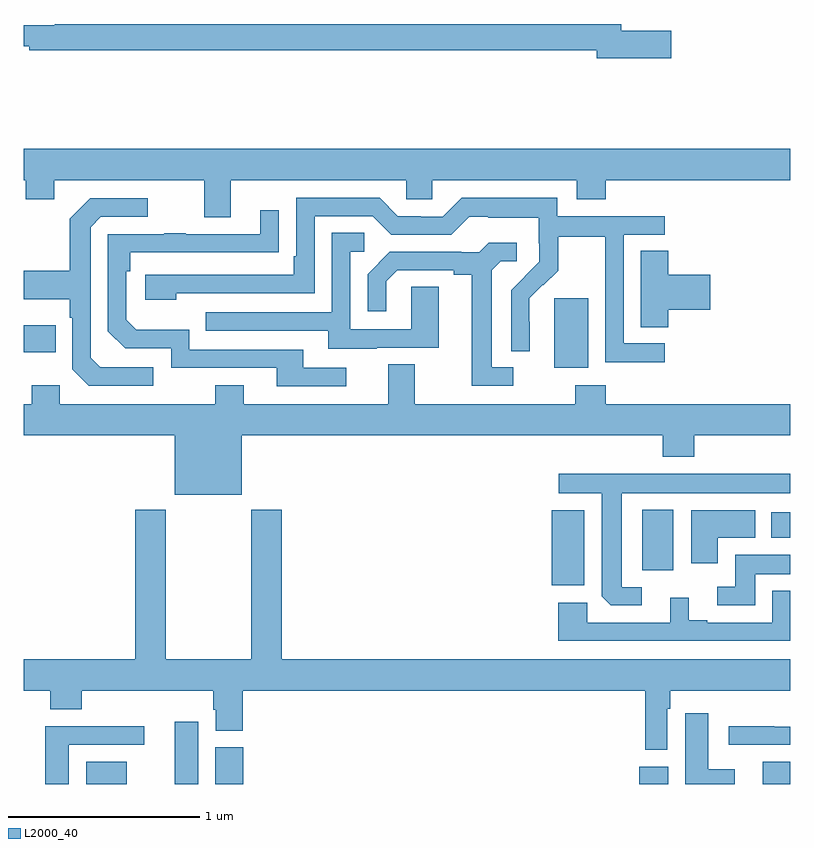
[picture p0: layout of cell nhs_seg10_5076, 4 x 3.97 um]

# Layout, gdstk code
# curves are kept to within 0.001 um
import gdstk
lib = gdstk.Library(unit=1e-6, precision=1e-09)
def R(c, l, rs):  # rectangles x0, y0, x1, y1
    for r in rs: c.add(gdstk.rectangle(r[:2], r[2:], *l))
def P(c, l, *ps):  # polygons
    for p in ps: c.add(gdstk.Polygon(p, *l))
L2000_40 = (2000, 40)

nhs_seg10_5076 = lib.new_cell('nhs_seg10_5076')
R(nhs_seg10_5076, L2000_40, [(405.326,1294.5,405.538,1294.615), (405.788,1294.5,405.91,1294.825), (405.998,1294.5,406.145,1294.692), (408.212,1294.5,408.364,1294.591), (408.857,1294.5,409,1294.615), (407.756,1295.537,407.926,1295.929), (408.227,1295.616,408.391,1295.932), (408.902,1295.786,409,1295.92), (407.768,1296.674,407.947,1297.035), (405,1296.755,405.167,1296.895)])
P(nhs_seg10_5076, L2000_40, [(408.379,1298.432),(408.118,1298.432),(408.118,1298.468),(405.16,1298.468),(405.16,1298.461),(405,1298.461),(405,1298.351),(405.028,1298.351),(405.028,1298.332),(407.99,1298.332),(407.99,1298.29),(408.379,1298.29)],
  [(406.081,1297.652),(406.995,1297.652),(406.995,1297.554),(407.133,1297.554),(407.133,1297.652),(407.885,1297.652),(407.885,1297.553),(408.038,1297.553),(408.038,1297.652),(409,1297.652),(409,1297.816),(405,1297.816),(405,1297.652),(405.01,1297.652),(405.01,1297.553),(405.157,1297.553),(405.157,1297.652),(405.941,1297.652),(405.941,1297.458),(406.081,1297.458)],
  [(408.346,1296.801),(408.132,1296.801),(408.132,1297.368),(408.346,1297.368),(408.346,1297.464),(407.784,1297.464),(407.784,1297.561),(407.287,1297.561),(407.187,1297.461),(407.072,1297.461),(407.072,1297.464),(406.953,1297.464),(406.857,1297.56),(406.422,1297.56),(406.422,1297.255),(406.409,1297.255),(406.409,1297.158),(405.633,1297.158),(405.633,1297.028),(405.794,1297.028),(405.794,1297.062),(406.518,1297.062),(406.518,1297.464),(406.821,1297.464),(406.917,1297.368),(407.232,1297.368),(407.325,1297.461),(407.425,1297.461),(407.425,1297.457),(407.688,1297.457),(407.688,1297.323),(407.69,1297.323),(407.69,1297.226),(407.544,1297.078),(407.544,1296.76),(407.64,1296.76),(407.639,1297.037),(407.709,1297.107),(407.712,1297.104),(407.789,1297.181),(407.789,1297.356),(408.034,1297.356),(408.034,1297.132),(408.036,1297.132),(408.036,1296.703),(408.346,1296.703)],
  [(405.676,1296.675),(405.399,1296.675),(405.348,1296.726),(405.348,1297.407),(405.402,1297.461),(405.646,1297.461),(405.646,1297.557),(405.345,1297.557),(405.24,1297.451),(405.24,1297.179),(405,1297.179),(405,1297.031),(405.24,1297.031),(405.24,1296.935),(405.252,1296.935),(405.252,1296.666),(405.339,1296.579),(405.676,1296.579)],
  [(406.684,1296.672),(406.459,1296.672),(406.459,1296.768),(405.864,1296.768),(405.864,1296.871),(405.587,1296.871),(405.534,1296.924),(405.534,1297.178),(405.554,1297.178),(405.554,1297.275),(406.331,1297.276),(406.331,1297.495),(406.235,1297.495),(406.235,1297.371),(405.845,1297.371),(405.845,1297.376),(405.733,1297.376),(405.733,1297.371),(405.438,1297.371),(405.438,1296.864),(405.528,1296.774),(405.768,1296.774),(405.768,1296.672),(406.319,1296.672),(406.319,1296.576),(406.684,1296.576)],
  [(406.843,1296.777),(407.167,1296.777),(407.167,1297.097),(407.022,1297.097),(407.022,1296.873),(406.704,1296.873),(406.704,1297.278),(406.777,1297.278),(406.777,1297.379),(406.608,1297.379),(406.608,1296.963),(405.949,1296.963),(405.949,1296.867),(406.589,1296.867),(406.589,1296.773),(406.843,1296.773)],
  [(407.554,1296.675),(407.443,1296.675),(407.443,1297.183),(407.49,1297.23),(407.572,1297.23),(407.572,1297.327),(407.428,1297.327),(407.376,1297.275),(407.282,1297.275),(407.282,1297.278),(406.91,1297.278),(406.794,1297.162),(406.794,1296.969),(406.891,1296.969),(406.891,1297.125),(406.948,1297.182),(407.243,1297.182),(407.243,1297.16),(407.339,1297.16),(407.339,1296.579),(407.554,1296.579)],
  [(408.365,1296.977),(408.583,1296.977),(408.583,1297.16),(408.365,1297.16),(408.365,1297.283),(408.221,1297.283),(408.221,1296.886),(408.365,1296.886)],
  [(406.138,1296.32),(408.335,1296.32),(408.335,1296.209),(408.5,1296.209),(408.5,1296.32),(409,1296.32),(409,1296.484),(408.038,1296.484),(408.038,1296.583),(407.878,1296.583),(407.878,1296.484),(407.041,1296.484),(407.041,1296.692),(406.901,1296.692),(406.901,1296.484),(406.147,1296.484),(406.147,1296.583),(406,1296.583),(406,1296.484),(405.186,1296.484),(405.186,1296.583),(405.04,1296.583),(405.04,1296.484),(405,1296.484),(405,1296.32),(405.788,1296.32),(405.788,1296.011),(406.138,1296.011)],
  [(408.226,1295.526),(408.121,1295.526),(408.121,1296.017),(409,1296.017),(409,1296.121),(407.793,1296.121),(407.793,1296.017),(408.017,1296.017),(408.018,1295.479),(408.064,1295.433),(408.226,1295.433)],
  [(408.36,1294.892),(408.375,1294.892),(408.375,1294.988),(409,1294.988),(409,1295.152),(406.346,1295.152),(406.346,1295.932),(406.186,1295.932),(406.186,1295.152),(405.741,1295.152),(405.741,1295.932),(405.581,1295.932),(405.581,1295.152),(405,1295.152),(405,1294.988),(405.137,1294.988),(405.137,1294.889),(405.302,1294.889),(405.302,1294.988),(405.989,1294.988),(405.989,1294.887),(406.001,1294.887),(406.001,1294.777),(406.142,1294.777),(406.142,1294.988),(408.244,1294.988),(408.244,1294.68),(408.36,1294.68)],
  [(408.622,1295.786),(408.817,1295.786),(408.817,1295.929),(408.485,1295.929),(408.485,1295.652),(408.622,1295.652)],
  [(408.817,1295.594),(409,1295.594),(409,1295.698),(408.713,1295.698),(408.713,1295.529),(408.621,1295.529),(408.621,1295.433),(408.817,1295.433)],
  [(409,1295.509),(408.906,1295.509),(408.906,1295.343),(408.568,1295.343),(408.568,1295.356),(408.472,1295.356),(408.472,1295.473),(408.374,1295.473),(408.374,1295.343),(407.94,1295.343),(407.94,1295.446),(407.789,1295.446),(407.789,1295.247),(409,1295.247)],
  [(408.712,1294.578),(408.574,1294.578),(408.574,1294.87),(408.453,1294.87),(408.453,1294.757),(408.452,1294.757),(408.452,1294.5),(408.712,1294.5)],
  [(405.235,1294.704),(405.628,1294.704),(405.628,1294.802),(405.11,1294.802),(405.11,1294.5),(405.235,1294.5)],
  [(409,1294.8),(408.917,1294.8),(408.917,1294.802),(408.681,1294.802),(408.681,1294.704),(409,1294.704)])

lib.write_gds('nhs_seg10_5076.gds')
